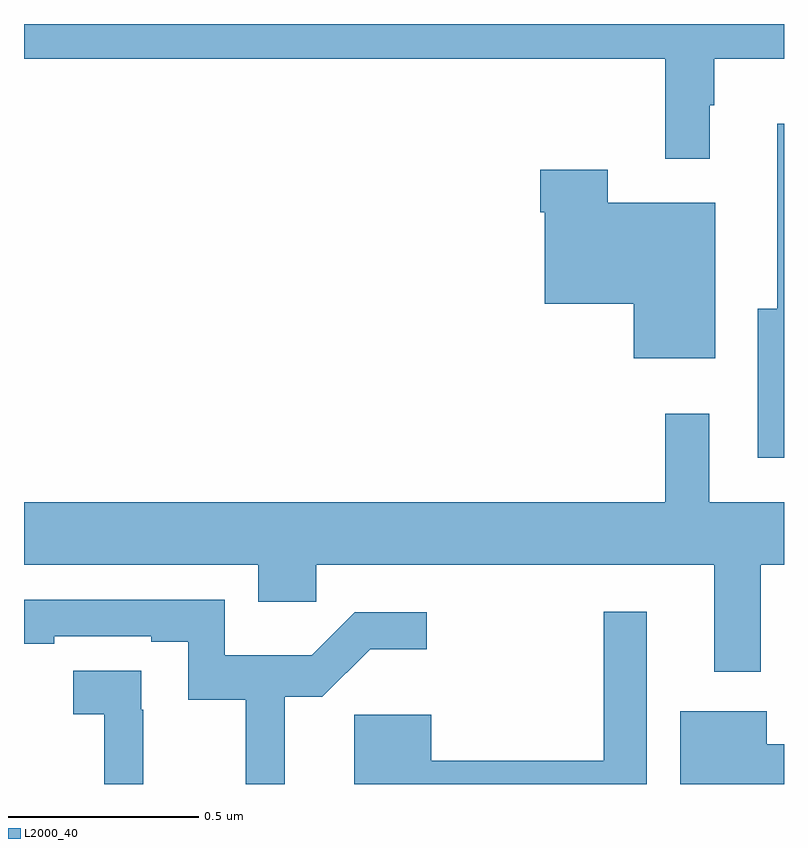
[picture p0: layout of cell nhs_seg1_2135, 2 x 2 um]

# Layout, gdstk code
import gdstk
lib = gdstk.Library(unit=1e-6, precision=1e-09)
def P(c, l, *ps):  # polygons
    for p in ps: c.add(gdstk.Polygon(p, *l))
L2000_40 = (2000, 40)

nhs_seg1_2135 = lib.new_cell('nhs_seg1_2135')
P(nhs_seg1_2135, L2000_40, [(139.804,508.985),(139.816,508.985),(139.816,509.108),(140,509.108),(140,509.199),(138,509.199),(138,509.108),(139.687,509.108),(139.687,508.845),(139.804,508.845)],
  [(140,508.936),(139.982,508.936),(139.982,508.45),(139.931,508.45),(139.931,508.058),(140,508.058)],
  [(139.819,508.729),(139.536,508.729),(139.536,508.816),(139.358,508.816),(139.358,508.703),(139.37,508.703),(139.37,508.463),(139.604,508.463),(139.604,508.319),(139.819,508.319)],
  [(139.939,507.776),(140,507.776),(140,507.94),(139.803,507.94),(139.803,508.174),(139.687,508.174),(139.687,507.94),(138,507.94),(138,507.776),(138.617,507.776),(138.617,507.678),(138.769,507.678),(138.769,507.776),(139.817,507.776),(139.817,507.495),(139.939,507.495)],
  [(138.686,507.429),(138.785,507.429),(138.911,507.554),(139.06,507.554),(139.06,507.651),(138.87,507.651),(138.757,507.538),(138.528,507.538),(138.528,507.684),(138,507.684),(138,507.568),(138.079,507.568),(138.079,507.588),(138.335,507.588),(138.335,507.574),(138.432,507.574),(138.432,507.421),(138.583,507.421),(138.583,507.199),(138.686,507.199)],
  [(139.639,507.652),(139.525,507.652),(139.525,507.26),(139.072,507.26),(139.072,507.381),(138.869,507.381),(138.869,507.199),(139.639,507.199)],
  [(138.314,507.395),(138.308,507.395),(138.308,507.497),(138.129,507.497),(138.129,507.382),(138.211,507.382),(138.211,507.199),(138.314,507.199)],
  [(140,507.303),(139.954,507.303),(139.954,507.391),(139.727,507.391),(139.727,507.199),(140,507.199)])

lib.write_gds('nhs_seg1_2135.gds')
